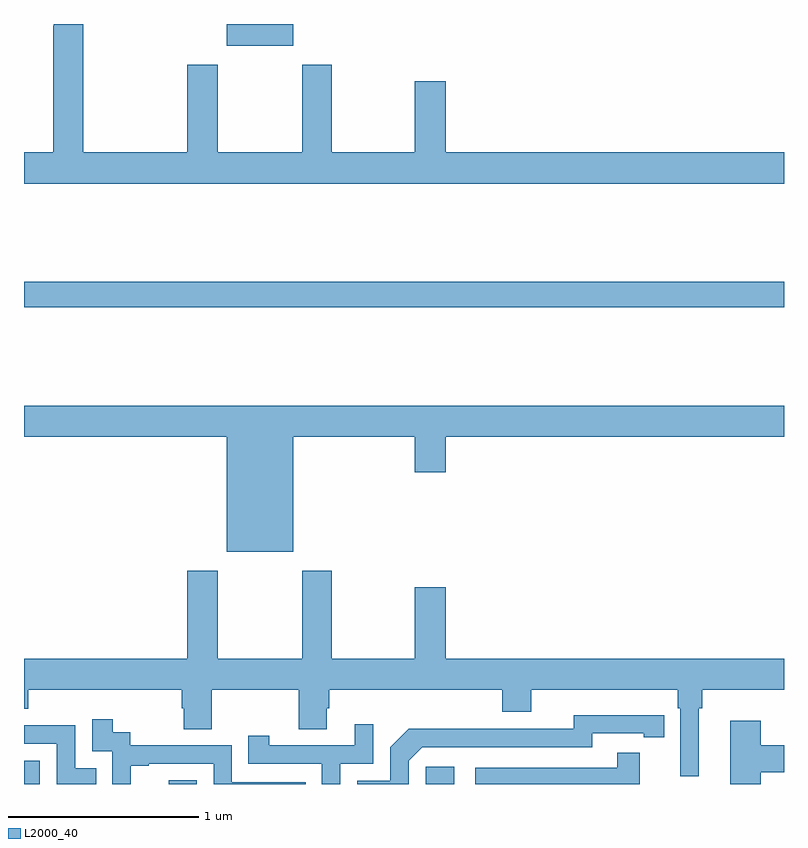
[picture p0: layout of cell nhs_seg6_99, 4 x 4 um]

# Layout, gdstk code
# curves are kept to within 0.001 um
import gdstk
lib = gdstk.Library(unit=1e-6, precision=1e-09)
def R(c, l, rs):  # rectangles x0, y0, x1, y1
    for r in rs: c.add(gdstk.rectangle(r[:2], r[2:], *l))
def P(c, l, *ps):  # polygons
    for p in ps: c.add(gdstk.Polygon(p, *l))
L2000_40 = (2000, 40)

nhs_seg6_99 = lib.new_cell('nhs_seg6_99')
R(nhs_seg6_99, L2000_40, [(115,953.5,115.083,953.622), (115.761,953.5,115.908,953.521), (117.114,953.5,117.265,953.59), (115,956.008,119,956.144), (116.066,957.386,116.416,957.5)])
P(nhs_seg6_99, L2000_40, [(119,956.824),(117.22,956.824),(117.22,957.199),(117.056,957.199),(117.056,956.824),(116.619,956.824),(116.619,957.286),(116.464,957.286),(116.464,956.824),(116.019,956.824),(116.019,957.286),(115.859,957.286),(115.859,956.824),(115.313,956.824),(115.313,957.5),(115.157,957.5),(115.157,957.491),(115.153,957.491),(115.153,956.824),(115,956.824),(115,956.66),(119,956.66)],
  [(116.416,955.328),(117.056,955.328),(117.056,955.14),(117.22,955.14),(117.22,955.328),(119,955.328),(119,955.492),(115,955.492),(115,955.328),(116.066,955.328),(116.066,954.722),(116.416,954.722)],
  [(118.552,953.9),(118.571,953.9),(118.571,953.996),(119,953.996),(119,954.16),(117.22,954.16),(117.22,954.535),(117.056,954.535),(117.056,954.16),(116.619,954.16),(116.619,954.622),(116.464,954.622),(116.464,954.16),(116.019,954.16),(116.019,954.622),(115.859,954.622),(115.859,954.16),(115,954.16),(115,953.897),(115.022,953.897),(115.022,953.996),(115.829,953.996),(115.829,953.898),(115.841,953.898),(115.841,953.788),(115.989,953.788),(115.989,953.996),(116.446,953.996),(116.446,953.788),(116.593,953.788),(116.593,953.898),(116.606,953.898),(116.606,953.996),(117.518,953.996),(117.518,953.879),(117.67,953.879),(117.67,953.996),(118.442,953.996),(118.442,953.9),(118.455,953.9),(118.455,953.541),(118.552,953.541)],
  [(117.024,953.622),(117.096,953.694),(117.99,953.694),(117.99,953.766),(118.262,953.766),(118.262,953.746),(118.37,953.746),(118.37,953.862),(117.894,953.863),(117.894,953.79),(117.434,953.79),(117.434,953.792),(117.026,953.792),(116.928,953.694),(116.928,953.517),(116.754,953.517),(116.754,953.5),(117.024,953.5)],
  [(115.562,953.595),(115.657,953.595),(115.657,953.607),(115.998,953.607),(115.998,953.5),(116.483,953.5),(116.483,953.508),(116.094,953.508),(116.094,953.703),(115.56,953.703),(115.56,953.772),(115.468,953.772),(115.468,953.842),(115.359,953.842),(115.359,953.673),(115.464,953.673),(115.464,953.5),(115.562,953.5)],
  [(118.877,953.561),(119,953.561),(119,953.703),(118.877,953.703),(118.877,953.833),(118.718,953.833),(118.718,953.5),(118.877,953.5)],
  [(116.664,953.607),(116.838,953.607),(116.838,953.815),(116.741,953.815),(116.741,953.703),(116.29,953.703),(116.29,953.755),(116.179,953.755),(116.179,953.607),(116.568,953.607),(116.568,953.5),(116.664,953.5)],
  [(115.379,953.583),(115.269,953.583),(115.269,953.808),(115,953.808),(115,953.712),(115.173,953.712),(115.173,953.5),(115.379,953.5)],
  [(118.241,953.665),(118.123,953.665),(118.123,953.586),(117.375,953.586),(117.375,953.5),(118.241,953.5)])

lib.write_gds('nhs_seg6_99.gds')
